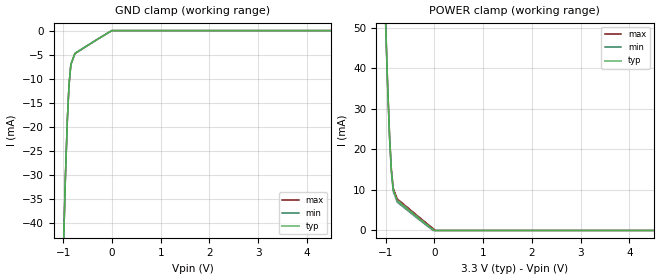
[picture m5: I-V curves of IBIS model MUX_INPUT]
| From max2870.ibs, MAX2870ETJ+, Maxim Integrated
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|   MUX_INPUT Model
[Model]   MUX_INPUT
Model_type   Input
Vinl = 0.6
Vinh = 1.5
|   typ   min   max
|C_comp values with magnitude order
C_comp   1.044e-13   1.043e-13   1.044e-13
|C_comp values with real corner order
|C_comp   1.044e-13   1.043e-13   1.044e-13
|C_comp (ON state)   1.044e-13   1.043e-13   1.044e-13
|C_comp (OFF state)   1.044e-13   1.043e-13   1.044e-13
[Voltage Range]   3.3   3   3.6
[Temperature Range]   27   110   -40
[Power Clamp Reference]   3.3   3   3.6
[GND Clamp Reference]   0   0   0
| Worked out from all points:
|   GND clamp passes 1 mA (typ) near -0.17 V on its own axis
|   POWER clamp passes 1 mA (typ) near -0.11 V on its own axis
[GND Clamp]
|   Voltage   I(typ)   I(min)   I(max)
-3.3V     -1.186A    -1.186A    -1.186A
-1.007V   -49.17mA   -49.23mA   -49.09mA
-960.3mV  -31.92mA   -31.97mA   -31.85mA
-956.4mV  -30.6mA    -30.64mA   -30.53mA
-915mV    -18.26mA   -18.28mA   -18.21mA
-880.8mV  -11.18mA   -11.18mA   -11.16mA
-843mV    -7.042mA   -7.008mA   -7.053mA
-759mV    -4.757mA   -4.713mA   -4.788mA
-3.3mV    -18.49pA   -1.824uA   -3.716uA
6.597V    0A         0A         0A
[POWER Clamp]
|   Voltage   I(typ)   I(min)   I(max)
-3.3V     1.207A     1.207A     1.207A
-1.013V   55.13mA    54.76mA    55.45mA
-967.2mV  37.61mA    37.23mA    37.94mA
-924mV    23.76mA    23.37mA    24.1mA
-920.4mV  22.77mA    22.38mA    23.12mA
-888mV    15.39mA    14.98mA    15.75mA
-884.4mV  14.75mA    14.34mA    15.12mA
-844.8mV  10.01mA    9.576mA    10.4mA
-765mV    7.417mA    6.98mA     7.821mA
-30mV     254uA      0A         507.4uA
22.8mV    0A         0A         0A
6.597V    0A         0A         0A
